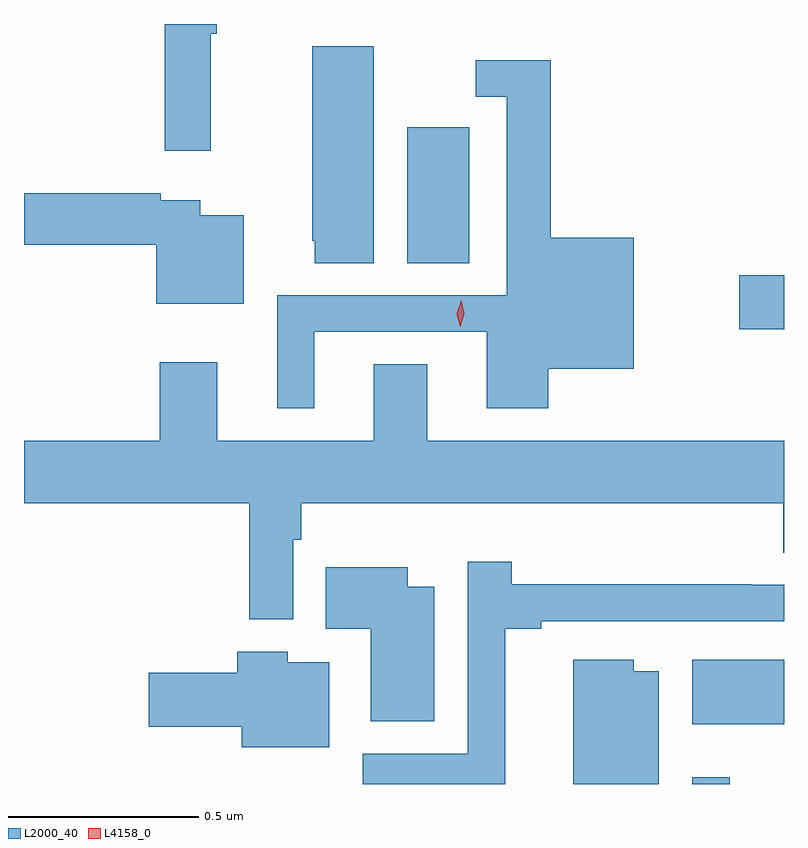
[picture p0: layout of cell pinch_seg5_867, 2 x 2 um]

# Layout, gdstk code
import gdstk
lib = gdstk.Library(unit=1e-6, precision=1e-09)
def R(c, l, rs):  # rectangles x0, y0, x1, y1
    for r in rs: c.add(gdstk.rectangle(r[:2], r[2:], *l))
def P(c, l, *ps):  # polygons
    for p in ps: c.add(gdstk.Polygon(p, *l))
L2000_40 = (2000, 40)
L4158_0 = (4158, 0)

pinch_seg5_867 = lib.new_cell('pinch_seg5_867')
R(pinch_seg5_867, L2000_40, [(802.797,887.989,802.895,888.007), (802.796,888.146,803.038,888.316), (802.92,889.186,803.038,889.328), (802.046,889.36,802.21,889.717)])
P(pinch_seg5_867, L2000_40, [(801.53,889.964),(801.545,889.964),(801.545,889.989),(801.409,889.989),(801.409,889.656),(801.53,889.656)],
  [(801.958,889.93),(801.797,889.93),(801.797,889.419),(801.803,889.419),(801.803,889.36),(801.958,889.36)],
  [(801.802,889.179),(802.256,889.179),(802.256,888.978),(802.418,888.978),(802.418,889.082),(802.642,889.082),(802.642,889.426),(802.424,889.426),(802.424,889.894),(802.227,889.894),(802.227,889.797),(802.308,889.797),(802.308,889.275),(801.704,889.275),(801.704,888.978),(801.802,888.978)],
  [(801.616,889.486),(801.502,889.486),(801.502,889.525),(801.398,889.525),(801.398,889.544),(801.038,889.544),(801.038,889.408),(801.386,889.408),(801.386,889.253),(801.616,889.253)],
  [(801.747,888.632),(801.767,888.632),(801.767,888.728),(803.036,888.728),(803.036,888.598),(803.038,888.598),(803.038,888.892),(802.099,888.892),(802.099,889.094),(801.959,889.094),(801.959,888.892),(801.547,888.892),(801.547,889.099),(801.395,889.099),(801.395,888.892),(801.038,888.892),(801.038,888.728),(801.631,888.728),(801.631,888.422),(801.747,888.422)],
  [(802.304,888.397),(802.399,888.397),(802.399,888.417),(803.038,888.417),(803.038,888.513),(802.952,888.513),(802.952,888.515),(802.322,888.515),(802.322,888.574),(802.206,888.574),(802.206,888.069),(801.929,888.069),(801.929,887.989),(802.304,887.989)],
  [(802.117,888.508),(802.048,888.508),(802.048,888.559),(801.832,888.559),(801.832,888.398),(801.95,888.398),(801.95,888.154),(802.117,888.154)],
  [(801.841,888.31),(801.732,888.31),(801.732,888.337),(801.599,888.337),(801.599,888.282),(801.366,888.282),(801.366,888.14),(801.611,888.14),(801.611,888.086),(801.841,888.086)],
  [(802.708,888.286),(802.642,888.286),(802.642,888.316),(802.484,888.316),(802.484,887.989),(802.708,887.989)])
P(pinch_seg5_867, L4158_0, [(802.186,889.192),(802.186,889.192),(802.177,889.227),(802.188,889.261),(802.188,889.262),(802.189,889.261),(802.197,889.226),(802.186,889.192)])

lib.write_gds('pinch_seg5_867.gds')
